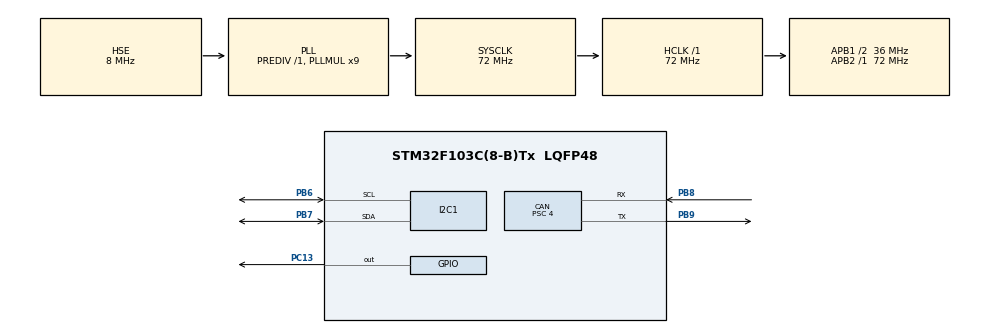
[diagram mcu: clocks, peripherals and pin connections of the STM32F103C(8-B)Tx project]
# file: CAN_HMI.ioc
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CAN.BS1=CAN_BS1_15TQ
CAN.BS2=CAN_BS2_2TQ
CAN.CalculateBaudRate=500000
CAN.CalculateTimeBit=2000
CAN.CalculateTimeQuantum=111.11111111111111
CAN.Prescaler=4
I2C1.I2C_Mode=I2C_Fast
Mcu.Family=STM32F1
Mcu.Name=STM32F103C(8-B)Tx
Mcu.Package=LQFP48
NVIC.CAN1_RX1_IRQn=true\:0\:0\:false\:false\:true\:true\:true\:true
NVIC.PriorityGroup=NVIC_PRIORITYGROUP_4
NVIC.USB_HP_CAN1_TX_IRQn=true\:0\:0\:false\:false\:true\:true\:true\:true
NVIC.USB_LP_CAN1_RX0_IRQn=true\:0\:0\:false\:false\:true\:true\:true\:true
PA13.Mode=Serial_Wire
PA13.Signal=SYS_JTMS-SWDIO
PA14.Mode=Serial_Wire
PA14.Signal=SYS_JTCK-SWCLK
PB6.Mode=I2C
PB6.Signal=I2C1_SCL
PB7.Mode=I2C
PB7.Signal=I2C1_SDA
PB8.GPIO_PuPd=GPIO_PULLUP
PB8.Mode=CAN_Activate
PB8.Signal=CAN_RX
PB9.Mode=CAN_Activate
PB9.Signal=CAN_TX
PC13-TAMPER-RTC.GPIO_PuPd=GPIO_NOPULL
PC13-TAMPER-RTC.Signal=GPIO_Output
PD0-OSC_IN.Mode=HSE-External-Oscillator
PD0-OSC_IN.Signal=RCC_OSC_IN
PD1-OSC_OUT.Mode=HSE-External-Oscillator
PD1-OSC_OUT.Signal=RCC_OSC_OUT
ProjectManager.HeapSize=0x200
ProjectManager.StackSize=0x400
ProjectManager.TargetToolchain=STM32CubeIDE
RCC.AHBFreq_Value=72000000
RCC.APB1CLKDivider=RCC_HCLK_DIV2
RCC.APB1Freq_Value=36000000
RCC.APB1TimFreq_Value=72000000
RCC.APB2Freq_Value=72000000
RCC.APB2TimFreq_Value=72000000
RCC.HCLKFreq_Value=72000000
RCC.PLLMUL=RCC_PLL_MUL9
RCC.PLLSourceVirtual=RCC_PLLSOURCE_HSE
RCC.SYSCLKFreq_VALUE=72000000
RCC.SYSCLKSource=RCC_SYSCLKSOURCE_PLLCLK
RCC.USBFreq_Value=72000000
board=custom

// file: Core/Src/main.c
/* USER CODE BEGIN Header */
/**
  ******************************************************************************
  * @file           : main.c
  * @brief          : Main program body
  ******************************************************************************
  * @attention
  *
  * Copyright (c) 2024 STMicroelectronics.
  * All rights reserved.
  *
  * This software is licensed under terms that can be found in the LICENSE file
  * in the root directory of this software component.
  * If no LICENSE file comes with this software, it is provided AS-IS.
  *
  ******************************************************************************
  */
/* USER CODE END Header */
#include "main.h"

/* USER CODE BEGIN Includes */
#include "stdio.h"
#include "string.h"
#include "fonts.h"
#include "SH1106.h"
/* USER CODE END Includes */

CAN_HandleTypeDef hcan;

I2C_HandleTypeDef hi2c1;

/* USER CODE BEGIN PV */
CAN_RxHeaderTypeDef RxHeader;
uint8_t RxData[8];
uint16_t speed = 0;
uint16_t mode = 0;
uint16_t direction = 0;
/* USER CODE END PV */

void SystemClock_Config(void);
static void MX_GPIO_Init(void);
static void MX_CAN_Init(void);
static void MX_I2C1_Init(void);

/* USER CODE BEGIN 0 */
void HAL_CAN_RxFifo0MsgPendingCallback(CAN_HandleTypeDef *hcan)
{
    //DBG("HAL_CAN_RxFifo0MsgPendingCallback");
    if (HAL_CAN_GetRxMessage(hcan, CAN_RX_FIFO0, &RxHeader, RxData) == HAL_OK)
    {
    	speed = RxData[0];
    	mode = RxData[1];
    	direction = RxData[2];
    }
}
/* USER CODE END 0 */

int main(void)
{

  /* MCU Configuration--------------------------------------------------------*/

  /* Reset of all peripherals, Initializes the Flash interface and the Systick. */
  HAL_Init();

  /* Configure the system clock */
  SystemClock_Config();

  /* Initialize all configured peripherals */
  MX_GPIO_Init();
  MX_CAN_Init();
  MX_I2C1_Init();
  /* USER CODE BEGIN 2 */
  SH1106_Init();

  CAN_FilterTypeDef canfilterconfig;

  canfilterconfig.FilterActivation = CAN_FILTER_ENABLE;
  canfilterconfig.FilterBank = 12;  // anything between 0 to SlaveStartFilterBank
  canfilterconfig.FilterFIFOAssignment = CAN_FILTER_FIFO0;
  canfilterconfig.FilterIdHigh = 0x200<<5;
  canfilterconfig.FilterIdLow = 0x0000;
      //canfilterconfig.FilterMaskIdHigh = 0x1<<13;
  canfilterconfig.FilterMaskIdHigh = 0x200<<5;
  canfilterconfig.FilterMaskIdLow = 0x0;
  canfilterconfig.FilterMode = CAN_FILTERMODE_IDMASK;
  canfilterconfig.FilterScale = CAN_FILTERSCALE_32BIT;
  canfilterconfig.SlaveStartFilterBank = 13;  // 13 to 27 are assigned to slave CAN (CAN 2) OR 0 to 12 are assgned to CAN1

  HAL_CAN_ConfigFilter(&hcan, &canfilterconfig);

  HAL_CAN_Start(&hcan);

  if (HAL_CAN_ActivateNotification(&hcan, CAN_IT_RX_FIFO0_MSG_PENDING) != HAL_OK)
  {
	  Error_Handler();
  }
  /* USER CODE END 2 */

  /* Infinite loop */
  while (1)
  {

    /* USER CODE BEGIN 3 */
	  SH1106_Clear();
	  char buffer[8];
	  snprintf(buffer, sizeof(buffer), "%u", speed);
	  SH1106_GotoXY(2,0);
	  SH1106_Puts("Speed: ", &Font_7x10, SH1106_COLOR_WHITE);
	  SH1106_GotoXY(45,0);
	  SH1106_Puts(buffer, &Font_7x10, SH1106_COLOR_WHITE);
	  SH1106_GotoXY(45 + strlen(buffer)*7 + 8, 0);
	  SH1106_Puts("RPM", &Font_7x10, SH1106_COLOR_WHITE);
	  SH1106_GotoXY(2,20);
	  SH1106_Puts("Mode: ", &Font_7x10, SH1106_COLOR_WHITE);
	  SH1106_GotoXY(43,20);
	  if(mode == 0)
	  {
		  SH1106_Puts("Stop", &Font_7x10, SH1106_COLOR_WHITE);
	  }
	  else
	  {
		  SH1106_Puts("Run", &Font_7x10, SH1106_COLOR_WHITE);
	  }
	  SH1106_GotoXY(2,40);
	  SH1106_Puts("Direction: ", &Font_7x10, SH1106_COLOR_WHITE);
	  SH1106_GotoXY(73,40);
	  if(direction == 0)
	  {
		  SH1106_Puts("Forward", &Font_7x10, SH1106_COLOR_WHITE);
	  }
	  else
	  {
		  SH1106_Puts("Backward", &Font_7x10, SH1106_COLOR_WHITE);
	  }
	  SH1106_UpdateScreen();
	  HAL_Delay(1000);
  }
  /* USER CODE END 3 */
}

void SystemClock_Config(void)
{
  RCC_OscInitTypeDef RCC_OscInitStruct = {0};
  RCC_ClkInitTypeDef RCC_ClkInitStruct = {0};

  /** Initializes the RCC Oscillators according to the specified parameters
  * in the RCC_OscInitTypeDef structure.
  */
  RCC_OscInitStruct.OscillatorType = RCC_OSCILLATORTYPE_HSE;
  RCC_OscInitStruct.HSEState = RCC_HSE_ON;
  RCC_OscInitStruct.HSEPredivValue = RCC_HSE_PREDIV_DIV1;
  RCC_OscInitStruct.HSIState = RCC_HSI_ON;
  RCC_OscInitStruct.PLL.PLLState = RCC_PLL_ON;
  RCC_OscInitStruct.PLL.PLLSource = RCC_PLLSOURCE_HSE;
  RCC_OscInitStruct.PLL.PLLMUL = RCC_PLL_MUL9;
  if (HAL_RCC_OscConfig(&RCC_OscInitStruct) != HAL_OK)
  {
    Error_Handler();
  }

  /** Initializes the CPU, AHB and APB buses clocks
  */
  RCC_ClkInitStruct.ClockType = RCC_CLOCKTYPE_HCLK|RCC_CLOCKTYPE_SYSCLK
                              |RCC_CLOCKTYPE_PCLK1|RCC_CLOCKTYPE_PCLK2;
  RCC_ClkInitStruct.SYSCLKSource = RCC_SYSCLKSOURCE_PLLCLK;
  RCC_ClkInitStruct.AHBCLKDivider = RCC_SYSCLK_DIV1;
  RCC_ClkInitStruct.APB1CLKDivider = RCC_HCLK_DIV2;
  RCC_ClkInitStruct.APB2CLKDivider = RCC_HCLK_DIV1;

  if (HAL_RCC_ClockConfig(&RCC_ClkInitStruct, FLASH_LATENCY_2) != HAL_OK)
  {
    Error_Handler();
  }
}

static void MX_CAN_Init(void)
{

  hcan.Instance = CAN1;
  hcan.Init.Prescaler = 4;
  hcan.Init.Mode = CAN_MODE_NORMAL;
  hcan.Init.SyncJumpWidth = CAN_SJW_1TQ;
  hcan.Init.TimeSeg1 = CAN_BS1_15TQ;
  hcan.Init.TimeSeg2 = CAN_BS2_2TQ;
  hcan.Init.TimeTriggeredMode = DISABLE;
  hcan.Init.AutoBusOff = DISABLE;
  hcan.Init.AutoWakeUp = DISABLE;
  hcan.Init.AutoRetransmission = DISABLE;
  hcan.Init.ReceiveFifoLocked = DISABLE;
  hcan.Init.TransmitFifoPriority = DISABLE;
  if (HAL_CAN_Init(&hcan) != HAL_OK)
  {
    Error_Handler();
  }

}

static void MX_I2C1_Init(void)
{

  hi2c1.Instance = I2C1;
  hi2c1.Init.ClockSpeed = 400000;
  hi2c1.Init.DutyCycle = I2C_DUTYCYCLE_2;
  hi2c1.Init.OwnAddress1 = 0;
  hi2c1.Init.AddressingMode = I2C_ADDRESSINGMODE_7BIT;
  hi2c1.Init.DualAddressMode = I2C_DUALADDRESS_DISABLE;
  hi2c1.Init.OwnAddress2 = 0;
  hi2c1.Init.GeneralCallMode = I2C_GENERALCALL_DISABLE;
  hi2c1.Init.NoStretchMode = I2C_NOSTRETCH_DISABLE;
  if (HAL_I2C_Init(&hi2c1) != HAL_OK)
  {
    Error_Handler();
  }

}

static void MX_GPIO_Init(void)
{
  GPIO_InitTypeDef GPIO_InitStruct = {0};

  /* GPIO Ports Clock Enable */
  __HAL_RCC_GPIOC_CLK_ENABLE();
  __HAL_RCC_GPIOD_CLK_ENABLE();
  __HAL_RCC_GPIOA_CLK_ENABLE();
  __HAL_RCC_GPIOB_CLK_ENABLE();

  /*Configure GPIO pin Output Level */
  HAL_GPIO_WritePin(GPIOC, GPIO_PIN_13, GPIO_PIN_RESET);

  /*Configure GPIO pin : PC13 */
  GPIO_InitStruct.Pin = GPIO_PIN_13;
  GPIO_InitStruct.Mode = GPIO_MODE_OUTPUT_PP;
  GPIO_InitStruct.Pull = GPIO_NOPULL;
  GPIO_InitStruct.Speed = GPIO_SPEED_FREQ_LOW;
  HAL_GPIO_Init(GPIOC, &GPIO_InitStruct);

}

void Error_Handler(void)
{
  __disable_irq();
  while (1)
  {
  }
}
